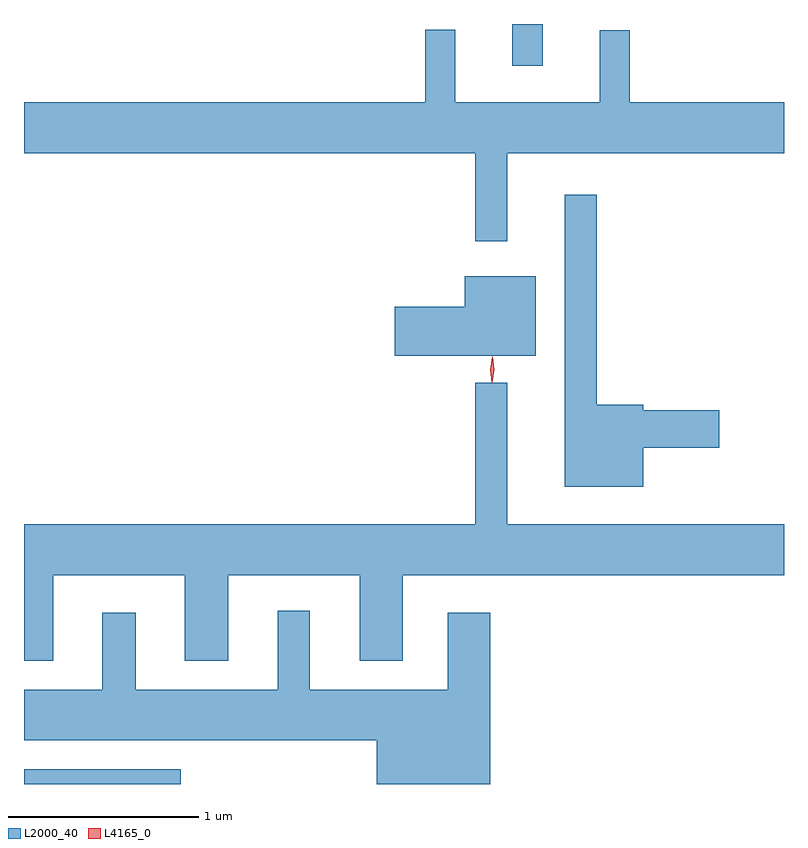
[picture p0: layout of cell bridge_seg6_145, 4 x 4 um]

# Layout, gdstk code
import gdstk
lib = gdstk.Library(unit=1e-6, precision=1e-09)
def R(c, l, rs):  # rectangles x0, y0, x1, y1
    for r in rs: c.add(gdstk.rectangle(r[:2], r[2:], *l))
def P(c, l, *ps):  # polygons
    for p in ps: c.add(gdstk.Polygon(p, *l))
L2000_40 = (2000, 40)
L4165_0 = (4165, 0)

bridge_seg6_145 = lib.new_cell('bridge_seg6_145')
R(bridge_seg6_145, L2000_40, [(1129.835,1575.577,1130.659,1575.654), (1132.406,1579.358,1132.564,1579.577)])
P(bridge_seg6_145, L2000_40, [(1132.379,1578.896),(1133.835,1578.896),(1133.835,1579.164),(1133.024,1579.164),(1133.024,1579.543),(1132.866,1579.543),(1132.866,1579.164),(1132.104,1579.164),(1132.104,1579.548),(1131.946,1579.548),(1131.946,1579.164),(1129.835,1579.164),(1129.835,1578.896),(1132.211,1578.896),(1132.211,1578.433),(1132.379,1578.433)],
  [(1133.094,1577.346),(1133.494,1577.346),(1133.494,1577.544),(1133.094,1577.544),(1133.094,1577.574),(1132.849,1577.574),(1132.849,1578.678),(1132.681,1578.678),(1132.681,1577.141),(1133.094,1577.141)],
  [(1132.529,1578.249),(1132.156,1578.249),(1132.156,1578.089),(1131.786,1578.089),(1131.786,1577.831),(1132.529,1577.831)],
  [(1129.989,1576.676),(1130.681,1576.676),(1130.681,1576.226),(1130.909,1576.226),(1130.909,1576.676),(1131.601,1576.676),(1131.601,1576.226),(1131.829,1576.226),(1131.829,1576.676),(1133.835,1576.676),(1133.835,1576.944),(1132.379,1576.944),(1132.379,1577.688),(1132.211,1577.688),(1132.211,1576.944),(1129.835,1576.944),(1129.835,1576.226),(1129.989,1576.226)],
  [(1132.289,1576.479),(1132.066,1576.479),(1132.066,1576.074),(1131.339,1576.074),(1131.339,1576.488),(1131.171,1576.488),(1131.171,1576.074),(1130.424,1576.074),(1130.424,1576.479),(1130.246,1576.479),(1130.246,1576.074),(1129.835,1576.074),(1129.835,1575.806),(1131.691,1575.806),(1131.691,1575.577),(1132.289,1575.577)])
P(bridge_seg6_145, L4165_0, [(1132.298,1577.69),(1132.29,1577.758),(1132.3,1577.825),(1132.3,1577.826),(1132.301,1577.825),(1132.31,1577.758),(1132.3,1577.69),(1132.299,1577.69)],
  [(1132.299,1577.693),(1132.298,1577.694),(1132.29,1577.756),(1132.3,1577.819),(1132.301,1577.82),(1132.301,1577.819),(1132.31,1577.756),(1132.3,1577.694)])

lib.write_gds('bridge_seg6_145.gds')
